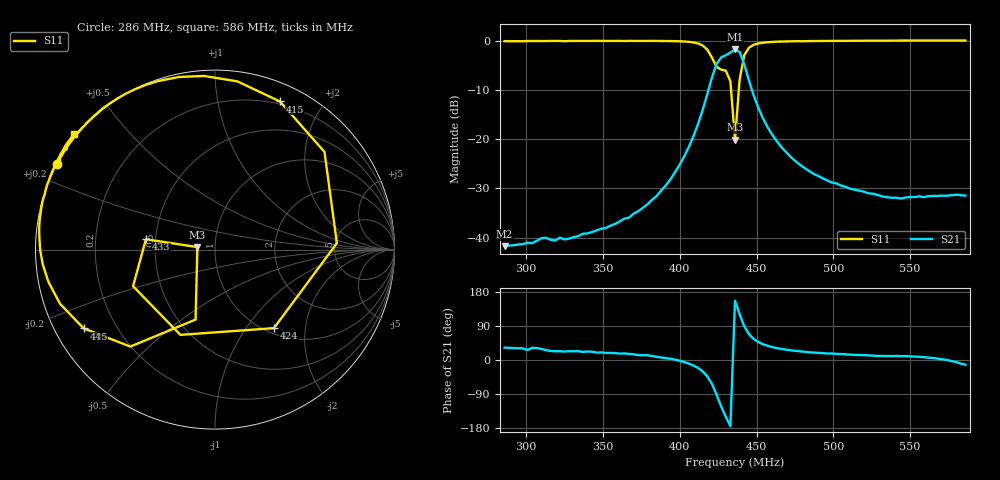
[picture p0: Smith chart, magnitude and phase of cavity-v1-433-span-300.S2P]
!File created by NanoVNA
# Hz S RI R 50
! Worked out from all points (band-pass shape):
!   101 points, 286 MHz to 586 MHz, reference 50 ohm
!   highest |S21| = -1.69 dB at 436 MHz (marker M1); lowest = -41.8 dB at 286 MHz (marker M2)
!   |S21| within 3 dB of the highest: 423.9 MHz to 442 MHz (18.06 MHz wide, 4.17 % of centre)
!   lowest |S11| = -20.1 dB at 436 MHz (marker M3), VSWR 1.22, Z = 41 + j1.15 ohm
!   |S11| at or under -10 dB: 433.5 MHz to 438.5 MHz (5.019 MHz wide, 1.15 % of centre)
!   S12 and S22 are empty: the file has one direction only
!   S11 on the Smith chart (normalised r, x): 286 MHz: 0.00, +0.25; 415 MHz: 0.17, +1.52; 424 MHz: 1.09, -1.36; 433 MHz: 0.44, +0.06; 445 MHz: 0.09, -0.28; 586 MHz: -0.01, +0.36
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2.86e8  -0.8786 0.4763  0.00687 0.00442  0 0  0 0
3.37e8  -0.8068 0.598  0.0102 0.00396  0 0  0 0
3.67e8  -0.7166 0.7045  0.0153 0.00439  0 0  0 0
3.88e8  -0.5742 0.8223  0.03 0.0034  0 0  0 0
4.03e8  -0.315 0.9395  0.067 -0.00661  0 0  0 0
4.09e8  -0.0609 0.9675  0.1045 -0.0272  0 0  0 0
4.15e8  0.3622 0.8252  0.173 -0.1005  0 0  0 0
4.18e8  0.61 0.5445  0.2111 -0.1986  0 0  0 0
4.21e8  0.6791 0.0359  0.1926 -0.381  0 0  0 0
4.24e8  0.3283 -0.4375  -0.0136 -0.5863  0 0  0 0
4.27e8  -0.1928 -0.4751  -0.3671 -0.5754  0 0  0 0
4.3e8  -0.4565 -0.204  -0.6197 -0.3622  0 0  0 0
4.33e8  -0.3849 0.0577  -0.7604 -0.0725  0 0  0 0
4.36e8  -0.0982 0.0138  -0.7545 0.3288  0 0  0 0
4.39e8  -0.1082 -0.3899  -0.3991 0.6659  0 0  0 0
4.42e8  -0.4717 -0.5403  0.00501 0.5823  0 0  0 0
4.45e8  -0.731 -0.4394  0.1449 0.3738  0 0  0 0
4.51e8  -0.928 -0.18  0.1428 0.1581  0 0  0 0
4.6e8  -0.978 0.0601  0.0933 0.0637  0 0  0 0
4.87e8  -0.9384 0.3501  0.0421 0.0151  0 0  0 0
5.38e8  -0.8541 0.542  0.025 0.00448  0 0  0 0
5.86e8  -0.784 0.6427  0.0261 -0.00574  0 0  0 0
